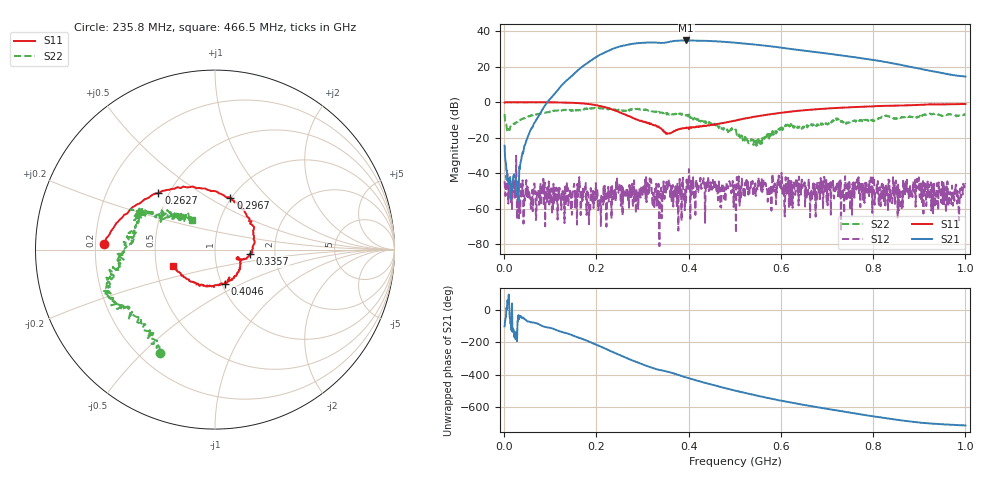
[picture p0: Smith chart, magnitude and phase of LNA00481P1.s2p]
! Created with skrf 1.9.0 (http://scikit-rf.org).
# Hz S RI R 50.0
!freq ReS11 ImS11 ReS21 ImS21 ReS12 ImS12 ReS22 ImS22
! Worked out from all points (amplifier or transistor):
!   1001 points, 1 MHz to 1 GHz, reference 50 ohm
!   highest |S21| = 34.9 dB at 394.6 MHz (marker M1)
!   |S21| within 3 dB of that: 257.2 MHz to 567.9 MHz (310.7 MHz wide, 75.3 % of centre)
!   unconditionally stable (mu >= 1): 198.9 MHz to 305.5 MHz; 315.7 MHz to 400.3 MHz; 401.2 MHz to end of sweep (the widest 3 of 43)
!   at 166.8 MHz: K = 4.17, MAG = 30.3 dB, |S12| = -59.3 dB
!   at 500.5 MHz: K = 2.25, MAG = 34.2 dB, |S12| = -47.3 dB
!   at 1 GHz: K = 3.02, MAG = 22.8 dB, |S12| = -46.3 dB
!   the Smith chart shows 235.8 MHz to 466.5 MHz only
!   S11 on the Smith chart (normalised r, x): 235.8 MHz: 0.24, +0.02; 262.7 MHz: 0.44, +0.34; 296.7 MHz: 0.99, +0.63; 335.7 MHz: 1.48, -0.07; 404.6 MHz: 1.03, -0.41; 466.5 MHz: 0.61, -0.12
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1000000  0.9852 -0.00115  -0.0104 -0.0587  -0.000816 0.00586  0.3476 0.311
1.08892e8  0.5342 -0.8416  -0.8107 -1.514  -0.00248 -0.00187  0.4203 -0.3842
1.67833e8  -0.2132 -0.9087  -9.813 -0.5856  -0.00297 -7.94e-05  0.0202 -0.6243
2.07793e8  -0.6535 -0.4393  -15.79 15.36  -0.00107 -0.00109  -0.2016 -0.6563
2.35765e8  -0.6167 0.032  -5.31 31.88  0.00056 -0.0031  -0.3081 -0.5768
2.62738e8  -0.3154 0.3142  16.65 37.21  0.00127 -0.00225  -0.4375 -0.3752
2.96704e8  0.0855 0.2897  42.08 21.56  0.000606 0.00306  -0.6041 -0.201
3.16684e8  0.1951 0.1448  48.59 5.163  -0.0039 -0.00371  -0.5837 -0.1238
3.34666e8  0.2087 -0.0163  47.27 -8.826  -0.00306 0.00401  -0.5147 -0.0231
3.35665e8  0.1941 -0.023  46.88 -9.593  0.000753 -0.000333  -0.5372 -0.0439
3.67633e8  0.1398 -0.0594  44.77 -29.16  -0.00118 0.00291  -0.4364 0.1489
3.94606e8  0.0923 -0.1644  29.45 -47.35  0.00191 0.000409  -0.3892 0.1881
4.04596e8  0.0542 -0.1905  21.87 -51.21  0.000378 0.00481  -0.323 0.1953
4.33567e8  -0.0991 -0.1933  -0.0675 -54.2  0.00232 0.00447  -0.2118 0.1992
4.66534e8  -0.2333 -0.0901  -22.46 -46.81  0.00316 0.000975  -0.1266 0.1647
5.005e8  -0.2886 0.0833  -37.17 -31.26  -0.00367 -0.00228  -0.113 0.125
5.4046e8  -0.2455 0.3014  -41.84 -10.04  -0.00221 -0.000559  -0.0578 -0.0234
5.88412e8  -0.0554 0.479  -35.15 10.3  0.00274 -0.00193  -0.125 -0.064
6.67333e8  0.3196 0.5339  -14.09 22.81  -0.00177 -6.28e-05  -0.2223 -0.0424
7.53247e8  0.6273 0.3715  3.051 19.01  -4.48e-05 -0.0032  -0.2717 0.00833
8.34166e8  0.7842 0.1415  9.275 9.395  -0.00429 -0.00331  -0.3999 0.0334
1e9  0.8138 -0.3878  5.345 0.2569  -0.00446 -0.00184  -0.2514 0.3761
